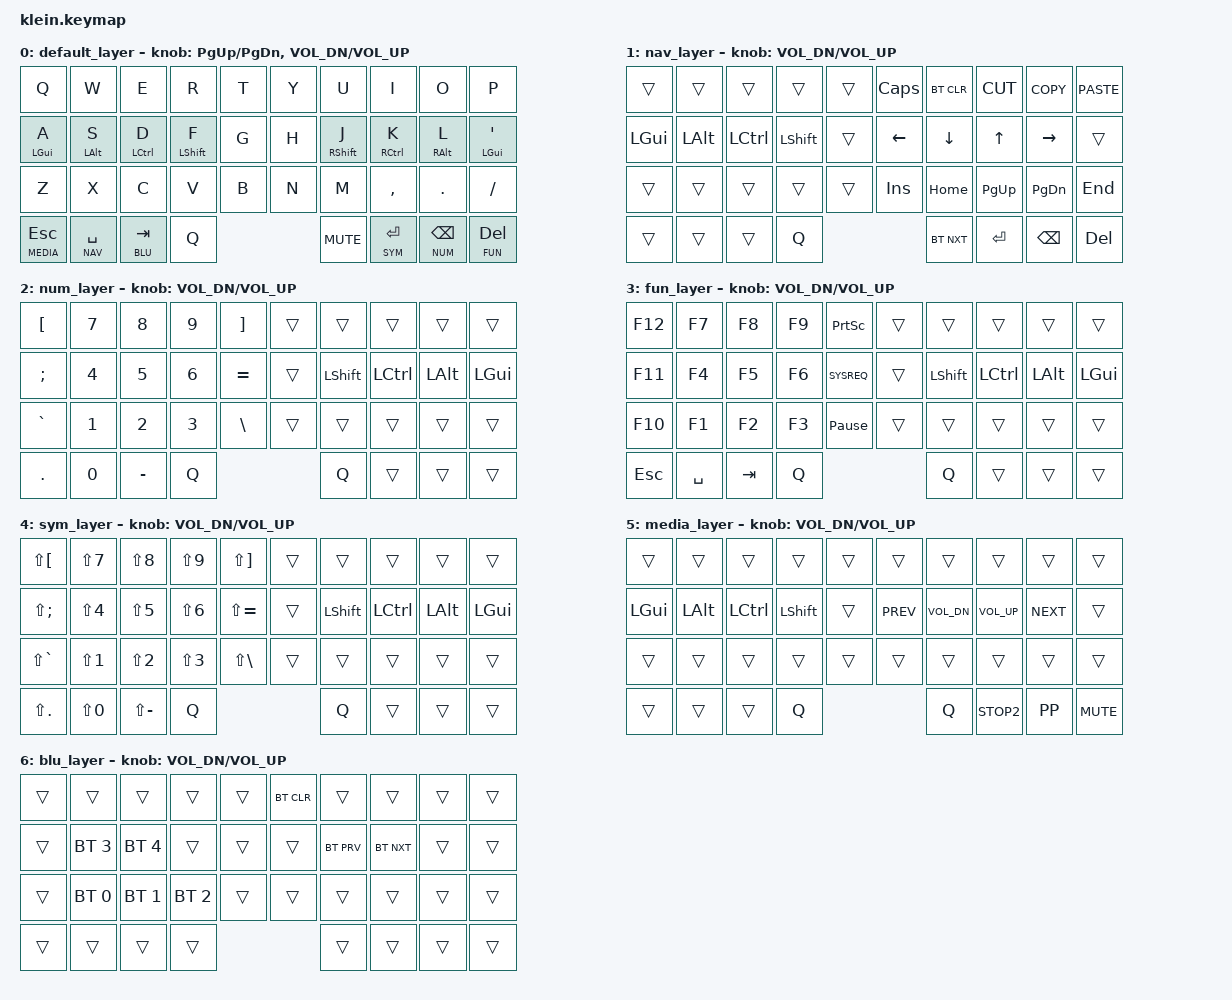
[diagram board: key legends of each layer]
/*
 * Copyright (c) 2020 The ZMK Contributors
 *
 * SPDX-License-Identifier: MIT
 */


#include <behaviors.dtsi>
#include <dt-bindings/zmk/keys.h>
#include <dt-bindings/zmk/bt.h>
#include <dt-bindings/zmk/outputs.h>

#define BASE 0
#define NAV  1
#define NUM  2
#define FUN  3
#define SYM  4
#define MEDIA  5
#define BLU 6

&mt {
  quick-tap-ms = <100>;
  global-quick-tap;
  flavor = "tap-preferred";
  tapping-term-ms = <180>;
};

/ {
    keymap {
        compatible = "zmk,keymap";

        default_layer {
//          ------------------------------------------------------------------------------------------------------------
//          |  Q  |  W  |  E   |  R   |  T   |                                           |  Y   |  U    |  I    |  O   |   P   |
//          |  A  |  S  |  D   |  F   |  G   |                                           |  H   |  J    |  K    |  L   |   '   |
//          |  Z  |  X  |  C   |  V   |  B   |                                           |  N   |  M    |  ,    |  .   |   /   |
//                      | ESC  | SPC |  TAB | BOOTLOADER |                         | MUTE | RET | BKSP | DEL |

            bindings = <
&kp Q          &kp W          &kp E          &kp R          &kp T               &kp Y          &kp U          &kp I          &kp O          &kp P
&mt LGUI A     &mt LALT S     &mt LCTRL D    &mt LSHFT F    &kp G               &kp H          &mt RSHFT J    &mt RCTRL K    &mt RALT L     &mt LGUI SQT
&kp Z          &kp X          &kp C          &kp V          &kp B               &kp N          &kp M          &kp COMMA      &kp DOT        &kp FSLH
&lt MEDIA ESC  &lt NAV SPACE  &lt BLU TAB    &kp Q                                       &kp K_MUTE     &lt SYM RET    &lt NUM BKSP   &lt FUN DEL
            >;
        sensor-bindings = <&inc_dec_kp PG_UP PG_DN &inc_dec_kp C_VOL_DN C_VOL_UP>;
        };

        nav_layer {

            bindings = <
&trans         &trans         &trans         &trans         &trans              &kp CAPSLOCK   &bt BT_CLR     &kp K_CUT      &kp K_COPY     &kp K_PASTE
&kp LGUI       &kp LALT       &kp LCTRL      &kp LSHFT      &trans              &kp LEFT       &kp DOWN       &kp UP         &kp RIGHT      &trans
&trans         &trans         &trans         &trans         &trans              &kp INSERT     &kp HOME       &kp PG_UP      &kp PG_DN      &kp END
&trans         &trans         &trans         &kp Q                                       &bt BT_NXT     &kp RET        &kp BKSP       &kp DEL
            >;
        sensor-bindings = <&inc_dec_kp C_VOL_DN C_VOL_UP>;
        };

        num_layer {
            
            bindings = <
&kp LBKT       &kp N7         &kp N8         &kp N9         &kp RBKT            &trans         &trans         &trans         &trans         &trans
&kp SEMI       &kp N4         &kp N5         &kp N6         &kp EQUAL           &trans         &kp LSHFT      &kp LCTRL      &kp LALT       &kp LGUI
&kp GRAVE      &kp N1         &kp N2         &kp N3         &kp BSLH            &trans         &trans         &trans         &trans         &trans
&kp PERIOD     &kp N0         &kp MINUS      &kp Q                                       &kp Q    &trans         &trans         &trans
            >;
        sensor-bindings = <&inc_dec_kp C_VOL_DN C_VOL_UP>;
        };

        fun_layer {
            
            bindings = <
&kp F12        &kp F7         &kp F8         &kp F9         &kp PSCRN           &trans         &trans         &trans         &trans         &trans
&kp F11        &kp F4         &kp F5         &kp F6         &kp SYSREQ          &trans         &kp LSHFT      &kp LCTRL      &kp LALT       &kp LGUI
&kp F10        &kp F1         &kp F2         &kp F3         &kp PAUSE_BREAK     &trans         &trans         &trans         &trans         &trans
&kp ESC        &kp SPACE      &kp TAB        &kp Q                                       &kp Q    &trans         &trans         &trans
            >;
        sensor-bindings = <&inc_dec_kp C_VOL_DN C_VOL_UP>;
        };

        sym_layer {
            
            bindings = <
&kp LS(LBKT)   &kp LS(N7)     &kp LS(N8)     &kp LS(N9)     &kp LS(RBKT)        &trans         &trans         &trans         &trans         &trans
&kp LS(SEMI)   &kp LS(N4)     &kp LS(N5)     &kp LS(N6)     &kp LS(EQUAL)       &trans         &kp LSHFT      &kp LCTRL      &kp LALT       &kp LGUI
&kp LS(GRAVE)  &kp LS(N1)     &kp LS(N2)     &kp LS(N3)     &kp LS(BSLH)        &trans         &trans         &trans         &trans         &trans
&kp LS(PERIOD) &kp LS(N0)     &kp LS(MINUS)  &kp Q                                       &kp Q    &trans         &trans         &trans
            >;
        sensor-bindings = <&inc_dec_kp C_VOL_DN C_VOL_UP>;
        };

        media_layer {
            
            bindings = <
&trans         &trans         &trans         &trans         &trans              &trans         &trans         &trans         &trans         &trans
&kp LGUI       &kp LALT       &kp LCTRL      &kp LSHFT      &trans              &kp K_PREV     &kp K_VOL_DN   &kp K_VOL_UP   &kp K_NEXT     &trans
&trans         &trans         &trans         &trans         &trans              &trans         &trans         &trans         &trans         &trans
&trans         &trans         &trans         &kp Q                                       &kp Q    &kp K_STOP2    &kp K_PP       &kp K_MUTE
            >;
        sensor-bindings = <&inc_dec_kp C_VOL_DN C_VOL_UP>;
        };

        blu_layer {
            
            bindings = <
&trans         &trans         &trans         &trans         &trans              &bt BT_CLR     &trans         &trans         &trans         &trans
&trans         &bt BT_SEL 3   &bt BT_SEL 4   &trans         &trans              &trans         &bt BT_PRV     &bt BT_NXT     &trans         &trans
&trans         &bt BT_SEL 0   &bt BT_SEL 1   &bt BT_SEL 2   &trans              &trans         &trans         &trans         &trans         &trans
&trans         &trans         &trans         &trans                                     &trans         &trans         &trans         &trans
            >;
        sensor-bindings = <&inc_dec_kp C_VOL_DN C_VOL_UP>;
        };
    };
};
 
